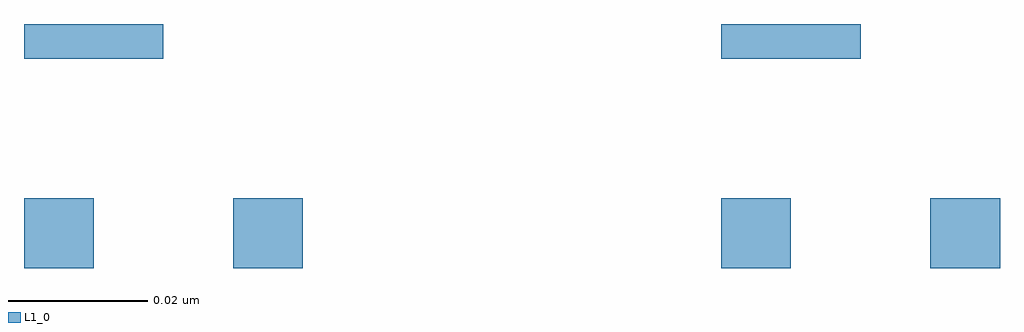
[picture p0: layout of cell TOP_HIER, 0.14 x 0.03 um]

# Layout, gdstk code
import gdstk
lib = gdstk.Library(unit=1e-6, precision=1e-09)
def R(c, l, rs):  # rectangles x0, y0, x1, y1
    for r in rs: c.add(gdstk.rectangle(r[:2], r[2:], *l))
L1_0 = (1, 0)

leafb = lib.new_cell('LEAFB')
R(leafb, L1_0, [(0,0,0.02,0.005)])

leafa = lib.new_cell('LEAFA')
R(leafa, L1_0, [(0,0,0.01,0.01)])

mid = lib.new_cell('MID')
mid.add(gdstk.Reference(leafb, (0,0.03)))
mid.add(gdstk.Reference(leafa, (0,0)))
mid.add(gdstk.Reference(leafa, (0.03,0)))

top_hier = lib.new_cell('TOP_HIER')
top_hier.add(gdstk.Reference(mid, (0,0)))
top_hier.add(gdstk.Reference(mid, (0.1,0)))

lib.write_gds('TOP_HIER.gds')
